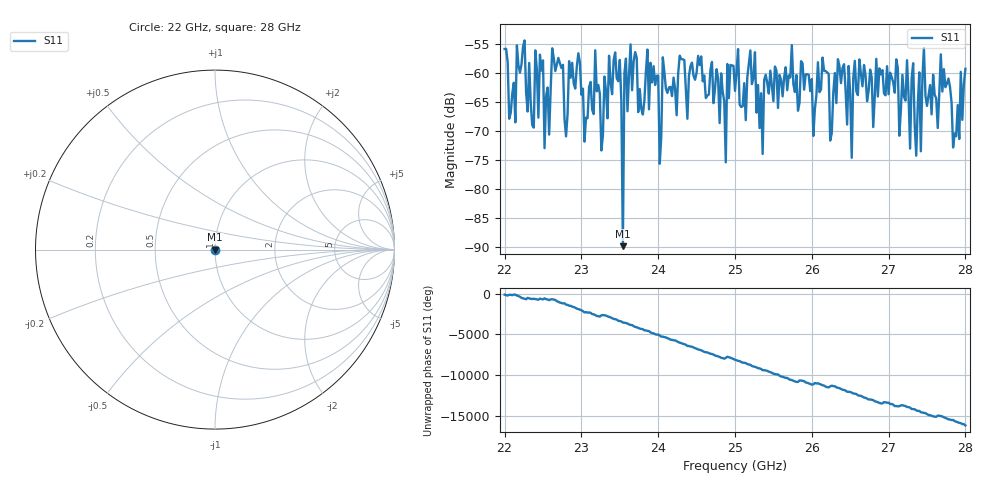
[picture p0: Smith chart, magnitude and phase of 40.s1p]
#  HZ  S  RI  R  50.00
! Rohde & Schwarz ZVA40 4Ports - Version 3.90 - 1145.1110k42 SN: 100403
! Date: 2023-10-04 06:49:05
! Measurement: S12
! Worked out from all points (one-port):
!   301 points, 22 GHz to 28 GHz, reference 50 ohm
!   lowest |S11| = -89.8 dB at 23.54 GHz (marker M1), VSWR 1.00, Z = 50 + j0.00308 ohm
!   |S11| at or under -10 dB: start of sweep to end of sweep
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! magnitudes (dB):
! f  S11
! 22 GHz  -55.8
! 22.5 GHz  -57.8
! 22.52 GHz  -72.9
! 22.76 GHz  -58.6
! 23.04 GHz  -71.8
! 23.18 GHz  -56.1
! 23.26 GHz  -73.3
! 23.5 GHz  -57.7
! 23.54 GHz  -89.8
! 23.56 GHz  -60.0
! 23.64 GHz  -55.0
! 24 GHz  -60.4
! 24.02 GHz  -75.6
! 24.06 GHz  -57.3
! 24.26 GHz  -60.1
! 24.82 GHz  -60.0
! 24.88 GHz  -75.3
! 24.9 GHz  -58.4
! 25 GHz  -63.0
! 25.76 GHz  -61.9
! 26.5 GHz  -63.6
! 27.26 GHz  -64.0
! 27.42 GHz  -73.4
! 27.46 GHz  -55.7
! 27.64 GHz  -69.4
! 27.68 GHz  -56.8
! 27.84 GHz  -72.8
! 28 GHz  -59.2
